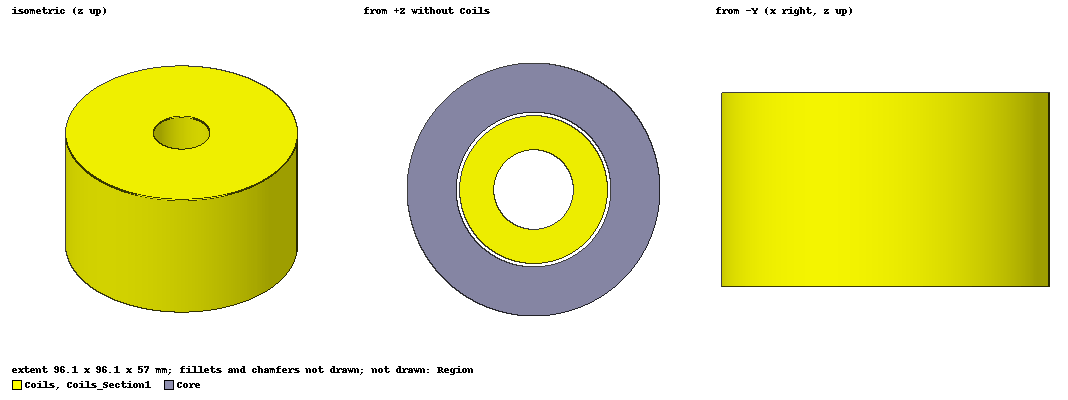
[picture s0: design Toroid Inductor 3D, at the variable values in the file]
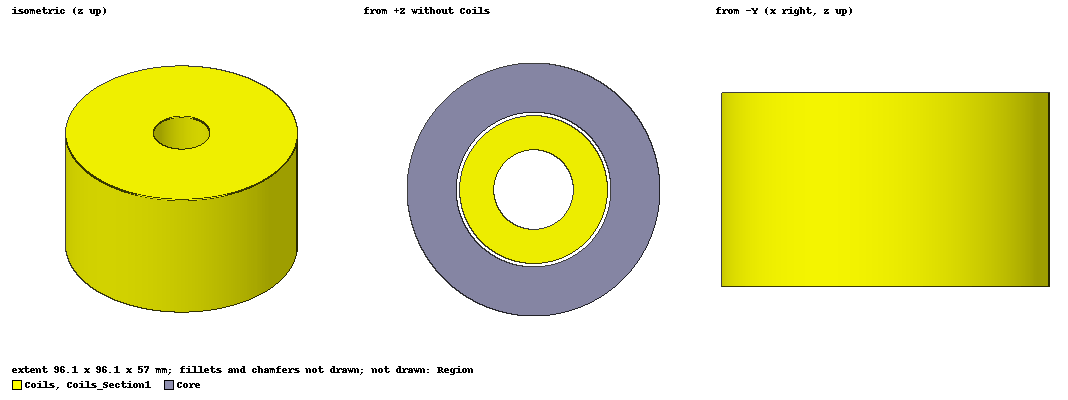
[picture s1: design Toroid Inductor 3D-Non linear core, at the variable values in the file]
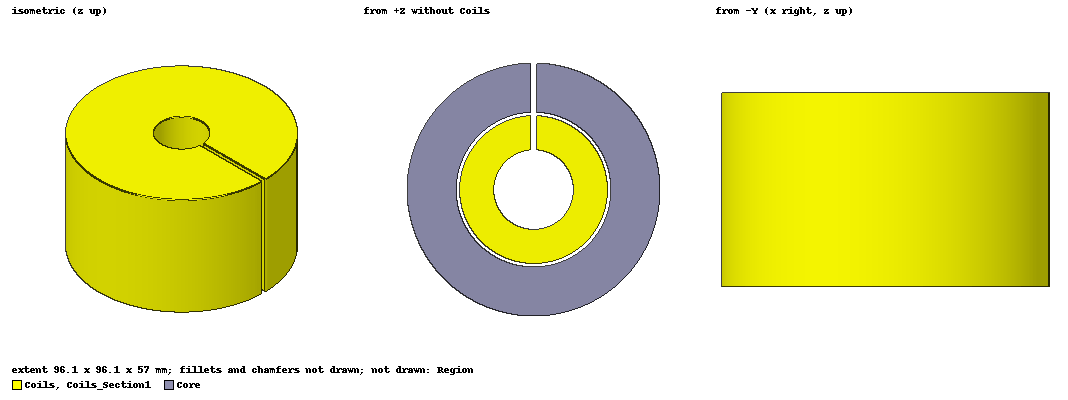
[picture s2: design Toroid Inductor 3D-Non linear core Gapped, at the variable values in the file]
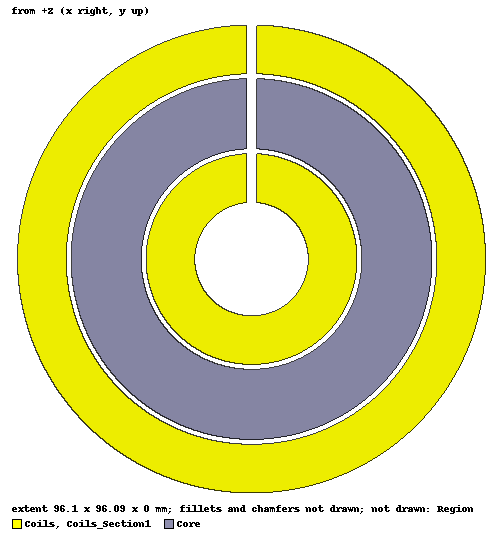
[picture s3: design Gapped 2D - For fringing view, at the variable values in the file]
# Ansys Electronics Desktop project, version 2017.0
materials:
  vacuum: permittivity=1
  copper: permeability=0.999991 conductivity=58000000
  steel_1010: permittivity=1 permeability{BType=normal HUnit=A_per_meter BUnit=tesla curve (0, 0) (238.7, 0.2003) (318.3, 0.3204) (358.1, 0.40045) (437.7, 0.50055) (477.5, 0.5606) (636.6, 0.7908) (795.8, 0.931) (1114.1, 1.1014) (1273.2, 1.2016) (1591.5, 1.302) (2228.2, 1.4028) (3183.1, 1.524) (4774.6, 1.626) (6366.2, 1.698) (7957.7, 1.73) (15915.5, 1.87) (31831, 1.99) (47746.5, 2.04) (63662, 2.07) (79577.5, 2.095) (159155, 2.2) (318310, 2.4)} conductivity=2000000 lande_g_factor=2
  steel_1008: permeability{BType=normal HUnit=A_per_meter BUnit=tesla curve (0, 0) (159.2, 0.2402) (318.3, 0.8654) (477.5, 1.1106) (636.6, 1.2458) (795.8, 1.331) (1591.5, 1.5) (3183.1, 1.6) (4774.6, 1.683) (6366.2, 1.741) (7957.7, 1.78) (15915.5, 1.905) (31831, 2.025) (47746.5, 2.085) (63662, 2.13) (79577.5, 2.165) (159155, 2.28) (318310, 2.485) (397887, 2.5851)} conductivity=2000000
  ee564_linear_core: permeability=83.82 conductivity=2000000
  ee_564_non_linear_core: permeability{BType=normal HUnit=A_per_meter BUnit=tesla curve (0, 0) (100, 0.01) (200, 0.02) (300, 0.03) (400, 0.04) (500, 0.05) (600, 0.07) (700, 0.08) (800, 0.09) (900, 0.1) (1000, 0.11) (2000, 0.21) (2200, 0.22) (2300, 0.23) (2700, 0.26) (3100, 0.29) (4000, 0.35) (4900, 0.4) (5900, 0.45) (7300, 0.51) (8800, 0.56) (10700, 0.61) (13000, 0.65) (16000, 0.7) (19900, 0.75) (25400, 0.8) (33600, 0.85)} conductivity=2000000

design Toroid Inductor 3D (Maxwell 3D, Magnetostatic, model units mm)
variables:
  N = 57
  I = 5A
  OD = 74.1mm
  ID = 45.3mm
  HT = 35mm
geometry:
  Circle1 = circle(normal=Z, centre=(0mm, 0mm, 0mm), radius=ID/2)
  Core [ee564_linear_core] = circle(normal=Z, centre=(0mm, 0mm, 0mm), radius=OD/2)
  Core.subtract(Circle1)
  Core.sweep_along_vector((0mm, 0mm, HT/2))
  Circle2_1 = Core.duplicate_mirror(point=(0mm, 0mm, 0mm), normal=(0mm, 0mm, 1mm))
  Core.unite(Circle2_1)
  Coils [copper] = circle(normal=Z, centre=(0mm, 0mm, 0mm), radius=OD/2+11mm)
  Circle4 = circle(normal=Z, centre=(0mm, 0mm, 0mm), radius=ID/2-11mm)
  Coils.subtract(Circle4)
  Coils.sweep_along_vector((0mm, 0mm, HT/2+11mm))
  Circle2_4 = Coils.duplicate_mirror(point=(0mm, 0mm, 0mm), normal=(0mm, 0mm, 1mm))
  Coils.unite(Circle2_4)
  Coils.fillet(Edges=Coils.edge(#2950, 1 of 4, #2951, 3 of 4) Radius=3mm Setback=0mm)
  Core2 = circle(normal=Z, centre=(0mm, 0mm, 0mm), radius=OD/2+1mm)
  Circle5 = circle(normal=Z, centre=(0mm, 0mm, 0mm), radius=ID/2-1mm)
  Core2.subtract(Circle5)
  Core2.sweep_along_vector((0mm, 0mm, HT/2+1mm))
  Circle2_5 = Core2.duplicate_mirror(point=(0mm, 0mm, 0mm), normal=(0mm, 0mm, 1mm))
  Core2.unite(Circle2_5)
  Coils.subtract(Core2)
  Region [vacuum] = region(percentage_offset: +X=200, -X=200, +Y=200, -Y=200, +Z=300, -Z=300)
  Coils_Section1 [copper] = Coils.section(plane=XY)
  Coils_Section1.separate_bodies()
  Core_Section1 [ee564_linear_core] = Core.section(plane=ZX)
  Core_Section1.separate_bodies()
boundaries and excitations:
  Current1: Current Objects=Coils_Section1 Current=N*I IsSolid=false Point_out_of_terminal=false
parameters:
  Matrix1: Matrix Current1: NumberOfTurns=N
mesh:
  Length1: LengthBased RefineInside Objects=Core NumMaxElem=10000
  Length2: LengthBased RefineInside Objects=Coils NumMaxElem=17000
  Length3: LengthBased Objects=Coils_Section1 NumMaxElem=5000
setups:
  Setup1: Magnetostatic MaximumPasses=10 MinimumPasses=2 MinimumConvergedPasses=1 PercentRefinement=30 PercentError=1 NonLinearResidual=0.001
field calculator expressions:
  Core_Flux = Normal | Fundamental_Quantity(22) | Dot | EnterSurface(Core_Section1) | SurfaceValue | Integrate
  CoEnergy_Core = coEnergy | EnterVolume(Core) | VolumeValue | Integrate
  Energy_Core = energy | EnterVolume(Core) | VolumeValue | Integrate
  CoEng_Coils = coEnergy | EnterVolume(Coils) | VolumeValue | Integrate
  Eng_Coils = energy | EnterVolume(Coils) | VolumeValue | Integrate
  Eng_region = energy | EnterVolume(Region) | VolumeValue | Integrate
  CoEng_Region = coEnergy | EnterVolume(Region) | VolumeValue | Integrate
  Eng_ALL = Fundamental_Quantity(23) | EnterVolume(AllObjects) | VolumeValue | Integrate
  Co_Eng_ALL = Fundamental_Quantity(24) | EnterVolume(AllObjects) | VolumeValue | Integrate
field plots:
  Mag_B1: B in Core on Setup1 : LastAdaptive
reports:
  ınductance by calculator (mH): abs(Core_Flux)*1000*N/i vs N on Setup1 : LastAdaptive
  ınductance by matrix: Matrix1.L(Current1,Current1) vs N on Setup1 : LastAdaptive
  Data Table 1: CoEnergy_Core vs N on Setup1 : LastAdaptive
  Data Table 2: Energy_Core, Energy_Core*2/i^2 vs N on Setup1 : LastAdaptive
  Data Table 3: CoEng_Coils*1000, CoEnergy_Core, Energy_Core, Eng_Coils*1000, Eng_region*1000, CoEng_Region*1000, Co_Eng_ALL*1000, Eng_ALL*1000 vs N on Setup1 : LastAdaptive
  Data Table 4: Eng_Coils*1000, Eng_region*1000, Energy_Core*1000 vs N on Setup1 : LastAdaptive

design Toroid Inductor 3D-Non linear core (Maxwell 3D, Magnetostatic, model units mm)
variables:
  N = 57
  I = 7.5A
  OD = 74.1mm
  ID = 45.3mm
  HT = 35mm
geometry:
  Circle1 = circle(normal=Z, centre=(0mm, 0mm, 0mm), radius=ID/2)
  Core [ee_564_non_linear_core] = circle(normal=Z, centre=(0mm, 0mm, 0mm), radius=OD/2)
  Core.subtract(Circle1)
  Core.sweep_along_vector((0mm, 0mm, HT/2))
  Circle2_1 = Core.duplicate_mirror(point=(0mm, 0mm, 0mm), normal=(0mm, 0mm, 1mm))
  Core.unite(Circle2_1)
  Coils [copper] = circle(normal=Z, centre=(0mm, 0mm, 0mm), radius=OD/2+11mm)
  Circle4 = circle(normal=Z, centre=(0mm, 0mm, 0mm), radius=ID/2-11mm)
  Coils.subtract(Circle4)
  Coils.sweep_along_vector((0mm, 0mm, HT/2+11mm))
  Circle2_4 = Coils.duplicate_mirror(point=(0mm, 0mm, 0mm), normal=(0mm, 0mm, 1mm))
  Coils.unite(Circle2_4)
  Coils.fillet(Edges=Coils.edge(#2950, 1 of 4, #2951, 3 of 4) Radius=3mm Setback=0mm)
  Core2 = circle(normal=Z, centre=(0mm, 0mm, 0mm), radius=OD/2+1mm)
  Circle5 = circle(normal=Z, centre=(0mm, 0mm, 0mm), radius=ID/2-1mm)
  Core2.subtract(Circle5)
  Core2.sweep_along_vector((0mm, 0mm, HT/2+1mm))
  Circle2_5 = Core2.duplicate_mirror(point=(0mm, 0mm, 0mm), normal=(0mm, 0mm, 1mm))
  Core2.unite(Circle2_5)
  Coils.subtract(Core2)
  Region [vacuum] = region(percentage_offset: +X=200, -X=200, +Y=200, -Y=200, +Z=300, -Z=300)
  Coils_Section1 [copper] = Coils.section(plane=XY)
  Coils_Section1.separate_bodies()
  Core_Section1 [ee564_linear_core] = Core.section(plane=ZX)
  Core_Section1.separate_bodies()
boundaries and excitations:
  Current1: Current Objects=Coils_Section1 Current=N*I IsSolid=false Point_out_of_terminal=false
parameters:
  Matrix1: Matrix Current1: NumberOfTurns=N
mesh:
  Length1: LengthBased RefineInside Objects=Core NumMaxElem=10000
  Length2: LengthBased RefineInside Objects=Coils NumMaxElem=17000
  Length3: LengthBased Objects=Coils_Section1 NumMaxElem=5000
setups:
  Setup1: Magnetostatic MaximumPasses=10 MinimumPasses=2 MinimumConvergedPasses=1 PercentRefinement=30 PercentError=1 NonLinearResidual=0.001
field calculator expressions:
  Core_Flux = Normal | Fundamental_Quantity(22) | Dot | EnterSurface(Core_Section1) | SurfaceValue | Integrate
  CoEnergy_Core = coEnergy | EnterVolume(Core) | VolumeValue | Integrate
  Energy_Core = energy | EnterVolume(Core) | VolumeValue | Integrate
  CoEng_Coils = coEnergy | EnterVolume(Coils) | VolumeValue | Integrate
  Eng_Coils = energy | EnterVolume(Coils) | VolumeValue | Integrate
  Eng_region = energy | EnterVolume(Region) | VolumeValue | Integrate
  CoEng_Region = coEnergy | EnterVolume(Region) | VolumeValue | Integrate
  Eng_ALL = Fundamental_Quantity(23) | EnterVolume(AllObjects) | VolumeValue | Integrate
  Co_Eng_ALL = Fundamental_Quantity(24) | EnterVolume(AllObjects) | VolumeValue | Integrate
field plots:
  Mag_B1: B in Core on Setup1 : LastAdaptive
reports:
  ınductance by calculator (mH): abs(Core_Flux)*1000*N/i vs N on Setup1 : LastAdaptive
  ınductance by matrix: Matrix1.L(Current1,Current1) vs N on Setup1 : LastAdaptive
  Data Table 1: CoEnergy_Core vs N on Setup1 : LastAdaptive
  Data Table 2: Energy_Core, Energy_Core*2/i^2 vs N on Setup1 : LastAdaptive
  Data Table 3: CoEng_Coils*1000, CoEnergy_Core, Energy_Core, Eng_Coils*1000, Eng_region*1000, CoEng_Region*1000, Co_Eng_ALL*1000, Eng_ALL*1000 vs N on Setup1 : LastAdaptive
  Data Table 4: Eng_Coils*1000, Eng_region*1000, Energy_Core*1000 vs N on Setup1 : LastAdaptive

design Toroid Inductor 3D-Non linear core Gapped (Maxwell 3D, Magnetostatic, model units mm)
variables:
  N = 57
  I = 7.5A
  OD = 74.1mm
  ID = 45.3mm
  HT = 35mm
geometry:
  Circle1 = circle(normal=Z, centre=(0mm, 0mm, 0mm), radius=ID/2)
  Core [ee_564_non_linear_core] = circle(normal=Z, centre=(0mm, 0mm, 0mm), radius=OD/2)
  Core.subtract(Circle1)
  Core.sweep_along_vector((0mm, 0mm, HT/2))
  Circle2_1 = Core.duplicate_mirror(point=(0mm, 0mm, 0mm), normal=(0mm, 0mm, 1mm))
  Core.unite(Circle2_1)
  Coils [copper] = circle(normal=Z, centre=(0mm, 0mm, 0mm), radius=OD/2+11mm)
  Circle4 = circle(normal=Z, centre=(0mm, 0mm, 0mm), radius=ID/2-11mm)
  Coils.subtract(Circle4)
  Coils.sweep_along_vector((0mm, 0mm, HT/2+11mm))
  Circle2_4 = Coils.duplicate_mirror(point=(0mm, 0mm, 0mm), normal=(0mm, 0mm, 1mm))
  Coils.unite(Circle2_4)
  Coils.fillet(Edges=Coils.edge(#2950, 1 of 4, #2951, 3 of 4) Radius=3mm Setback=0mm)
  Core2 = circle(normal=Z, centre=(0mm, 0mm, 0mm), radius=OD/2+1mm)
  Circle5 = circle(normal=Z, centre=(0mm, 0mm, 0mm), radius=ID/2-1mm)
  Core2.subtract(Circle5)
  Core2.sweep_along_vector((0mm, 0mm, HT/2+1mm))
  Circle2_5 = Core2.duplicate_mirror(point=(0mm, 0mm, 0mm), normal=(0mm, 0mm, 1mm))
  Core2.unite(Circle2_5)
  Coils.subtract(Core2)
  Region [vacuum] = region(percentage_offset: +X=200, -X=200, +Y=200, -Y=200, +Z=300, -Z=300)
  Coils_Section1 [copper] = Coils.section(plane=XY)
  Coils_Section1.separate_bodies()
  Core_Section1 [ee564_linear_core] = Core.section(plane=ZX)
  Core_Section1.separate_bodies()
  Box1 = box(corner=(0mm, 0mm, 0mm), size=(1mm, 60mm, 35mm))
  Box1_1 = Box1.duplicate_mirror(point=(0mm, 0mm, 0mm), normal=(-1mm, 0mm, 0mm))
  Box1.unite(Box1_1)
  Box1_2 = Box1.duplicate_mirror(point=(0mm, 0mm, 0mm), normal=(0mm, 0mm, -1mm))
  Box1_2.unite(Box1)
  Box1_2_1 = Box1_2.copy()
  Coils.subtract(Box1_2_1)
  Box1_2_2 = Box1_2.copy()
  Coils_Section1.subtract(Box1_2_2)
  Box1_2_3 = Box1_2.copy()
  Core.subtract(Box1_2_3)
  Core_Section1.subtract(Box1_2)
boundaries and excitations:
  Current1: Current Objects=Coils_Section1 Current=N*I IsSolid=false Point_out_of_terminal=false
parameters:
  Matrix1: Matrix Current1: NumberOfTurns=N
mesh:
  Length1: LengthBased RefineInside Objects=Core NumMaxElem=10000
  Length2: LengthBased RefineInside Objects=Coils NumMaxElem=17000
  Length3: LengthBased Objects=Coils_Section1 NumMaxElem=5000
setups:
  Setup1: Magnetostatic MaximumPasses=10 MinimumPasses=2 MinimumConvergedPasses=1 PercentRefinement=30 PercentError=1 NonLinearResidual=0.001
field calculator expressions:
  Core_Flux = Normal | Fundamental_Quantity(22) | Dot | EnterSurface(Core_Section1) | SurfaceValue | Integrate
  CoEnergy_Core = coEnergy | EnterVolume(Core) | VolumeValue | Integrate
  Energy_Core = energy | EnterVolume(Core) | VolumeValue | Integrate
  CoEng_Coils = coEnergy | EnterVolume(Coils) | VolumeValue | Integrate
  Eng_Coils = energy | EnterVolume(Coils) | VolumeValue | Integrate
  Eng_region = energy | EnterVolume(Region) | VolumeValue | Integrate
  CoEng_Region = coEnergy | EnterVolume(Region) | VolumeValue | Integrate
  Eng_ALL = Fundamental_Quantity(23) | EnterVolume(AllObjects) | VolumeValue | Integrate
  Co_Eng_ALL = Fundamental_Quantity(24) | EnterVolume(AllObjects) | VolumeValue | Integrate
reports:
  ınductance by calculator (mH): abs(Core_Flux)*1000*N/i vs N on Setup1 : LastAdaptive
  ınductance by matrix: Matrix1.L(Current1,Current1) vs N on Setup1 : LastAdaptive
  Data Table 1: CoEnergy_Core vs N on Setup1 : LastAdaptive
  Data Table 2: Energy_Core, Energy_Core*2/i^2 vs N on Setup1 : LastAdaptive
  Data Table 3: CoEng_Coils*1000, CoEnergy_Core, Energy_Core, Eng_Coils*1000, Eng_region*1000, CoEng_Region*1000, Co_Eng_ALL*1000, Eng_ALL*1000 vs N on Setup1 : LastAdaptive
  stored energies: Eng_Coils*1000, Eng_region*1000, Energy_Core*1000 vs N on Setup1 : LastAdaptive

design Gapped 2D - For fringing view (Maxwell 2D, Magnetostatic, XY geometry, model units mm)
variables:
  OD = 74.1mm
  HT = 35mm
  ID = 45.3mm
  I = 7.5A
  N = 57
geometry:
  Circle1 = circle(normal=Z, centre=(0mm, 0mm, 0mm), radius=ID/2)
  Core#15 = circle(normal=Z, centre=(0mm, 0mm, 0mm), radius=OD/2)
  Core#15.subtract(Circle1)
  Core#15.sweep_along_vector((0mm, 0mm, HT/2))
  Circle2_1 = Core#15.duplicate_mirror(point=(0mm, 0mm, 0mm), normal=(0mm, 0mm, 1mm))
  Core#15.unite(Circle2_1)
  Coils#2938 = circle(normal=Z, centre=(0mm, 0mm, 0mm), radius=OD/2+11mm)
  Circle4 = circle(normal=Z, centre=(0mm, 0mm, 0mm), radius=ID/2-11mm)
  Coils#2938.subtract(Circle4)
  Coils#2938.sweep_along_vector((0mm, 0mm, HT/2+11mm))
  Circle2_4 = Coils#2938.duplicate_mirror(point=(0mm, 0mm, 0mm), normal=(0mm, 0mm, 1mm))
  Coils#2938.unite(Circle2_4)
  Coils#2938.fillet(Edges=Coils#2938.edge(#2950, 1 of 4, #2951, 3 of 4) Radius=3mm Setback=0mm)
  Core2 = circle(normal=Z, centre=(0mm, 0mm, 0mm), radius=OD/2+1mm)
  Circle5 = circle(normal=Z, centre=(0mm, 0mm, 0mm), radius=ID/2-1mm)
  Core2.subtract(Circle5)
  Core2.sweep_along_vector((0mm, 0mm, HT/2+1mm))
  Circle2_5 = Core2.duplicate_mirror(point=(0mm, 0mm, 0mm), normal=(0mm, 0mm, 1mm))
  Core2.unite(Circle2_5)
  Coils#2938.subtract(Core2)
  Region [vacuum] = region(percentage_offset: +X=200, -X=200, +Y=200, -Y=200, +Z=300, -Z=300)
  Coils_Section1 [copper] = Coils#2938.section(plane=XY)
  Coils_Section1.separate_bodies()
  Box1 = box(corner=(0mm, 0mm, 0mm), size=(1mm, 60mm, 35mm))
  Box1_1 = Box1.duplicate_mirror(point=(0mm, 0mm, 0mm), normal=(-1mm, 0mm, 0mm))
  Box1.unite(Box1_1)
  Box1_2 = Box1.duplicate_mirror(point=(0mm, 0mm, 0mm), normal=(0mm, 0mm, -1mm))
  Box1_2.unite(Box1)
  Box1_2_1 = Box1_2.copy()
  Coils#2938.subtract(Box1_2_1)
  Box1_2_2 = Box1_2.copy()
  Coils_Section1.subtract(Box1_2_2)
  Box1_2_3 = Box1_2.copy()
  Box1_2.delete()
  Core#15.subtract(Box1_2_3)
  Core [ee_564_non_linear_core] = Core#15.section(plane=XY)
  Core#15.delete()
  Coils [copper] = Coils#2938.section(plane=XY)
  Coils#2938.delete()
  Coils.separate_bodies()
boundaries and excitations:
  VectorPotential1: Vector Potential Edges=Region.edge(all 4) Value=0
  Current1: Current Objects=Coils_Section1 Current=N*I IsPositive=true
  Current2: Current Objects=Coils Current=N*I IsPositive=false
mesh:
  initial mesh: MeshMethod=AnsoftClassic
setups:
  Setup1: Magnetostatic MaximumPasses=10 MinimumPasses=2 MinimumConvergedPasses=1 PercentRefinement=30 PercentError=1 NonLinearResidual=0.0001
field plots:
  Flux_Lines1: A over Region, Coils_Section1, Core, Coils on Setup1 : LastAdaptive
